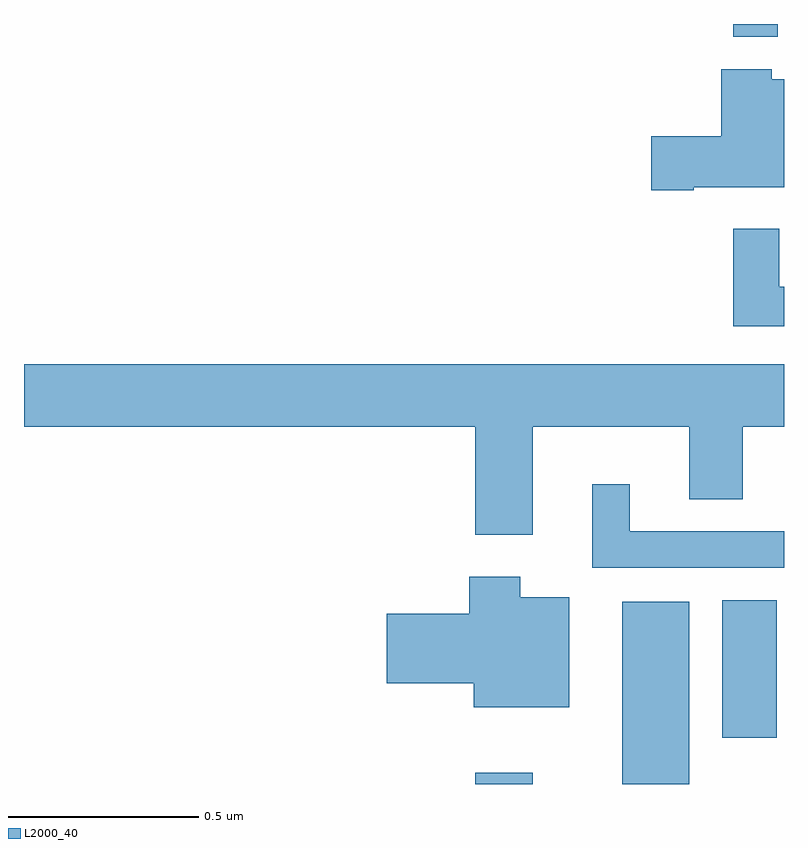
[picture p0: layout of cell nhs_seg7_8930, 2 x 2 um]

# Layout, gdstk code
import gdstk
lib = gdstk.Library(unit=1e-6, precision=1e-09)
def R(c, l, rs):  # rectangles x0, y0, x1, y1
    for r in rs: c.add(gdstk.rectangle(r[:2], r[2:], *l))
def P(c, l, *ps):  # polygons
    for p in ps: c.add(gdstk.Polygon(p, *l))
L2000_40 = (2000, 40)

nhs_seg7_8930 = lib.new_cell('nhs_seg7_8930')
R(nhs_seg7_8930, L2000_40, [(232.187,1009,232.339,1009.03), (232.574,1009,232.75,1009.48), (232.838,1009.122,232.981,1009.484), (232.867,1010.966,232.983,1011)])
P(nhs_seg7_8930, L2000_40, [(232.762,1010.57),(233,1010.57),(233,1010.854),(232.968,1010.854),(232.968,1010.881),(232.835,1010.881),(232.835,1010.705),(232.65,1010.705),(232.65,1010.563),(232.762,1010.563)],
  [(233,1010.308),(232.987,1010.308),(232.987,1010.461),(232.866,1010.461),(232.866,1010.204),(233,1010.204)],
  [(232.339,1009.94),(232.751,1009.94),(232.751,1009.75),(232.891,1009.75),(232.891,1009.94),(233,1009.94),(233,1010.104),(231,1010.104),(231,1009.94),(232.187,1009.94),(232.187,1009.656),(232.339,1009.656)],
  [(233,1009.665),(232.594,1009.665),(232.594,1009.789),(232.496,1009.789),(232.496,1009.569),(233,1009.569)],
  [(232.435,1009.492),(232.306,1009.492),(232.306,1009.546),(232.172,1009.546),(232.172,1009.448),(231.954,1009.448),(231.954,1009.265),(232.184,1009.265),(232.184,1009.202),(232.435,1009.202)])

lib.write_gds('nhs_seg7_8930.gds')
